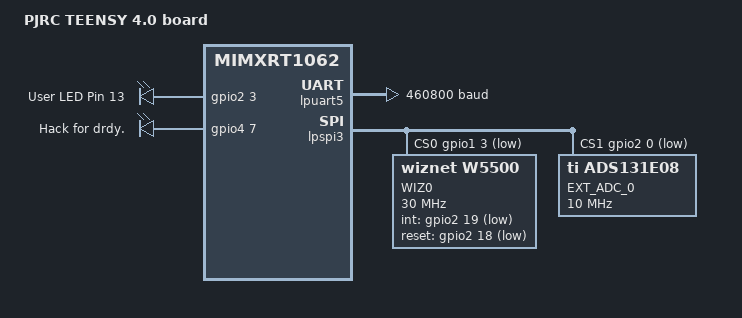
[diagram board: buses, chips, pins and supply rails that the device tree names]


/ {
	model = "PJRC TEENSY 4.0 board";
	compatible = "nxp,mimxrt1062";

	chosen {
		zephyr,sram = &ocram;
		zephyr,itcm = &itcm;
		zephyr,dtcm = &dtcm;
		zephyr,console = &lpuart5; /* Teensy Pins 34(RX8) 35(TX8) */
		zephyr,can-primary = &flexcan1; /* Teensy Pins 23(CRX1) 22(CTX1) */
	};

	leds {
		compatible = "gpio-leds";
		board_led: led-1 {
			gpios = <&gpio2 3 GPIO_ACTIVE_HIGH>;
			label = "User LED Pin 13";
		};

		button1: button_1 {
			gpios = <&gpio4 7 GPIO_PULL_UP>;
			label = "Hack for drdy.";
		};
	};

	aliases {
		led0 = &board_led;
		ndrdy = &button1;
	};

};

&lpuart5 {
	status = "okay";
	current-speed = < 460800 >;
};

// &enet {
//   status = "okay";
//   ptp {
//     status = "okay";
//   };
//   phy {
//     compatible = "ethernet-phy";
//     status = "okay";
//     no-reset;
//     late_mii_start;
//     address = <0>;
//     mdio = <&mdio>;
//   };
//   mdio: mdio {
//     status = "okay";
//   };
// };

teensy_spi1: &lpspi3 {
	status = "okay";
	cs-gpios = <&gpio1 3 GPIO_ACTIVE_LOW>, <&gpio2 0 GPIO_ACTIVE_LOW>; /* TeensyPin0 */
  // pcs-sck-delay = < 60 >;
  // sck-pcs-delay = < 60 >;
  transfer-delay = < 60 >;

	wizenet@0 {
		status = "okay";
		compatible = "wiznet,w5500";
		reg = <0>;
		spi-max-frequency = <30000000>;
		int-gpios = <&gpio2 19 GPIO_ACTIVE_LOW>;	/* */
		reset-gpios = <&gpio2 18 GPIO_ACTIVE_LOW>;	/* */
		label = "WIZ0";
	};

	ads131e08: spi-device@1 {
		status = "okay";
		compatible = "ti,ads131e08";
		reg = <1>;
		spi-max-frequency = <10000000>;
		// int-gpios = <&gpio2 19 GPIO_ACTIVE_LOW>;	/* PIO1_28 => PLU_IN3  */
		label = "EXT_ADC_0";
	};

};


&flexcan1 {
	status = "disabled";
};
&lpuart2 {
	status = "disabled";
};
&lpuart6 {
	status = "disabled";
};
